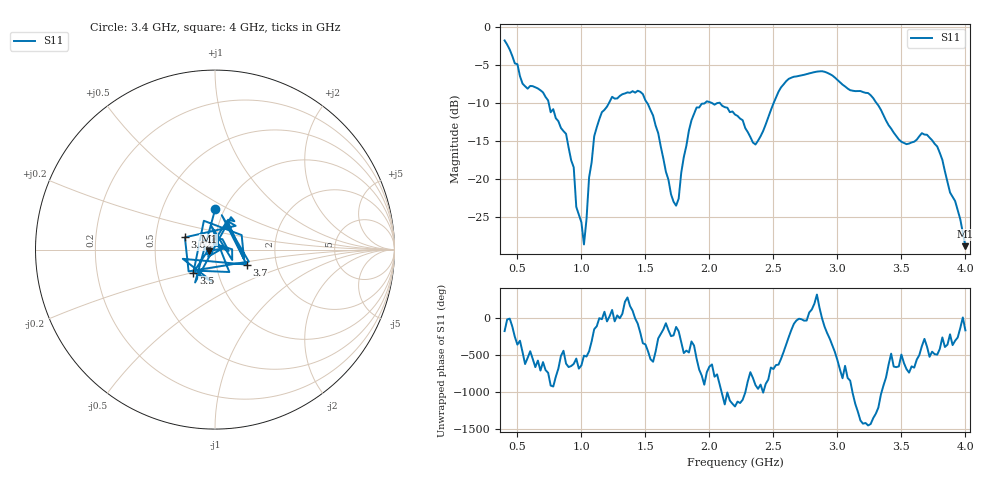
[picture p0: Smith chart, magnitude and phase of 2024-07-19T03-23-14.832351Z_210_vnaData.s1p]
!Created with skrf (http://scikit-rf.org).
# Hz S RI R 50.0
!freq ReS11 ImS11
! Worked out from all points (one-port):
!   181 points, 400 MHz to 4 GHz, reference 50 ohm
!   lowest |S11| = -28.9 dB at 4 GHz (marker M1), VSWR 1.07, Z = 46.6 - j0.826 ohm
!   |S11| at or under -10 dB: 744.1 MHz to 1.216 GHz (472.1 MHz wide, 48.2 % of centre); 1.513 GHz to 1.967 GHz (453.4 MHz wide, 26.1 % of centre); 3.304 GHz to end of sweep (the widest 3 of 5)
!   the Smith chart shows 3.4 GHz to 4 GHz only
!   S11 on the Smith chart (normalised r, x): 3.4 GHz: 0.91, +0.43; 3.5 GHz: 0.76, -0.20; 3.62 GHz: 0.71, +0.10; 3.7 GHz: 1.40, -0.24; 4 GHz: 0.93, -0.02
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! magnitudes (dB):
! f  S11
! 400 MHz  -1.8
! 540 MHz  -7.5
! 700 MHz  -8.6
! 860 MHz  -13.7
! 940 MHz  -18.5
! 960 MHz  -23.7
! 1.02 GHz  -28.6
! 1.06 GHz  -19.8
! 1.1 GHz  -14.4
! 1.3 GHz  -9.1
! 1.48 GHz  -8.8
! 1.6 GHz  -14.0
! 1.72 GHz  -23.0
! 1.76 GHz  -22.6
! 1.84 GHz  -13.6
! 1.9 GHz  -10.6
! 2.2 GHz  -11.5
! 2.36 GHz  -15.5
! 2.66 GHz  -6.6
! 3.1 GHz  -8.3
! 3.26 GHz  -9.0
! 3.4 GHz  -12.9
! 3.5 GHz  -15.1
! 3.56 GHz  -15.4
! 3.62 GHz  -14.8
! 3.7 GHz  -14.2
! 3.82 GHz  -17.5
! 4 GHz  -28.9
